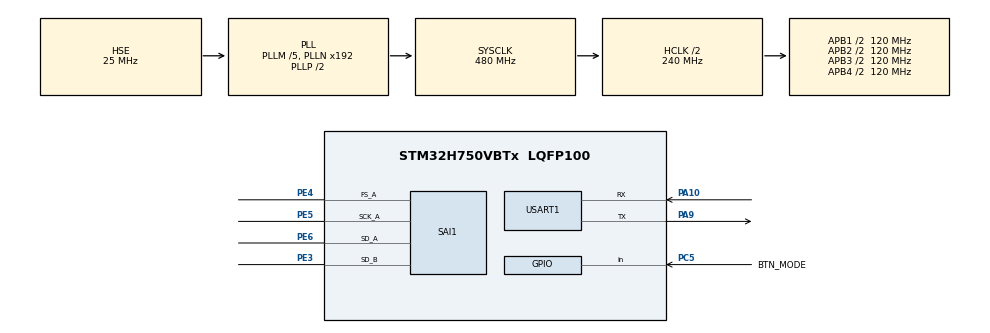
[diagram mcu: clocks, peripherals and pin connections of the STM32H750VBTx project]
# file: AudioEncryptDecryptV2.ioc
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CORTEX_M7.default_mode_Activation=1
CRYP.Algorithm=CRYP_AES_CTR
CRYP.Header=__NULL
Dma.CRYP_IN.2.Direction=DMA_MEMORY_TO_PERIPH
Dma.CRYP_IN.2.EventEnable=DISABLE
Dma.CRYP_IN.2.FIFOMode=DMA_FIFOMODE_DISABLE
Dma.CRYP_IN.2.Instance=DMA1_Stream2
Dma.CRYP_IN.2.MemDataAlignment=DMA_MDATAALIGN_WORD
Dma.CRYP_IN.2.MemInc=DMA_MINC_ENABLE
Dma.CRYP_IN.2.Mode=DMA_NORMAL
Dma.CRYP_IN.2.PeriphDataAlignment=DMA_PDATAALIGN_WORD
Dma.CRYP_IN.2.PeriphInc=DMA_PINC_DISABLE
Dma.CRYP_IN.2.Polarity=HAL_DMAMUX_REQ_GEN_RISING
Dma.CRYP_IN.2.Priority=DMA_PRIORITY_VERY_HIGH
Dma.CRYP_IN.2.RequestNumber=1
Dma.CRYP_IN.2.SignalID=NONE
Dma.CRYP_IN.2.SyncEnable=DISABLE
Dma.CRYP_IN.2.SyncPolarity=HAL_DMAMUX_SYNC_NO_EVENT
Dma.CRYP_IN.2.SyncRequestNumber=1
Dma.CRYP_IN.2.SyncSignalID=NONE
Dma.CRYP_OUT.3.Direction=DMA_PERIPH_TO_MEMORY
Dma.CRYP_OUT.3.EventEnable=DISABLE
Dma.CRYP_OUT.3.FIFOMode=DMA_FIFOMODE_DISABLE
Dma.CRYP_OUT.3.Instance=DMA1_Stream3
Dma.CRYP_OUT.3.MemDataAlignment=DMA_MDATAALIGN_WORD
Dma.CRYP_OUT.3.MemInc=DMA_MINC_ENABLE
Dma.CRYP_OUT.3.Mode=DMA_NORMAL
Dma.CRYP_OUT.3.PeriphDataAlignment=DMA_PDATAALIGN_WORD
Dma.CRYP_OUT.3.PeriphInc=DMA_PINC_DISABLE
Dma.CRYP_OUT.3.Polarity=HAL_DMAMUX_REQ_GEN_RISING
Dma.CRYP_OUT.3.Priority=DMA_PRIORITY_VERY_HIGH
Dma.CRYP_OUT.3.RequestNumber=1
Dma.CRYP_OUT.3.SignalID=NONE
Dma.CRYP_OUT.3.SyncEnable=DISABLE
Dma.CRYP_OUT.3.SyncPolarity=HAL_DMAMUX_SYNC_NO_EVENT
Dma.CRYP_OUT.3.SyncRequestNumber=1
Dma.CRYP_OUT.3.SyncSignalID=NONE
Dma.Request0=SAI1_A
Dma.Request1=SAI1_B
Dma.Request2=CRYP_IN
Dma.Request3=CRYP_OUT
Dma.SAI1_A.0.Direction=DMA_MEMORY_TO_PERIPH
Dma.SAI1_A.0.EventEnable=DISABLE
Dma.SAI1_A.0.FIFOMode=DMA_FIFOMODE_DISABLE
Dma.SAI1_A.0.Instance=DMA1_Stream0
Dma.SAI1_A.0.MemDataAlignment=DMA_MDATAALIGN_WORD
Dma.SAI1_A.0.MemInc=DMA_MINC_ENABLE
Dma.SAI1_A.0.Mode=DMA_CIRCULAR
Dma.SAI1_A.0.PeriphDataAlignment=DMA_PDATAALIGN_WORD
Dma.SAI1_A.0.PeriphInc=DMA_PINC_DISABLE
Dma.SAI1_A.0.Polarity=HAL_DMAMUX_REQ_GEN_RISING
Dma.SAI1_A.0.Priority=DMA_PRIORITY_HIGH
Dma.SAI1_A.0.RequestNumber=1
Dma.SAI1_A.0.SignalID=NONE
Dma.SAI1_A.0.SyncEnable=DISABLE
Dma.SAI1_A.0.SyncPolarity=HAL_DMAMUX_SYNC_NO_EVENT
Dma.SAI1_A.0.SyncRequestNumber=1
Dma.SAI1_A.0.SyncSignalID=NONE
Dma.SAI1_B.1.Direction=DMA_PERIPH_TO_MEMORY
Dma.SAI1_B.1.EventEnable=DISABLE
Dma.SAI1_B.1.FIFOMode=DMA_FIFOMODE_DISABLE
Dma.SAI1_B.1.Instance=DMA1_Stream1
Dma.SAI1_B.1.MemDataAlignment=DMA_MDATAALIGN_WORD
Dma.SAI1_B.1.MemInc=DMA_MINC_ENABLE
Dma.SAI1_B.1.Mode=DMA_CIRCULAR
Dma.SAI1_B.1.PeriphDataAlignment=DMA_PDATAALIGN_WORD
Dma.SAI1_B.1.PeriphInc=DMA_PINC_DISABLE
Dma.SAI1_B.1.Polarity=HAL_DMAMUX_REQ_GEN_RISING
Dma.SAI1_B.1.Priority=DMA_PRIORITY_HIGH
Dma.SAI1_B.1.RequestNumber=1
Dma.SAI1_B.1.SignalID=NONE
Dma.SAI1_B.1.SyncEnable=DISABLE
Dma.SAI1_B.1.SyncPolarity=HAL_DMAMUX_SYNC_NO_EVENT
Dma.SAI1_B.1.SyncRequestNumber=1
Dma.SAI1_B.1.SyncSignalID=NONE
Mcu.Family=STM32H7
Mcu.Name=STM32H750VBTx
Mcu.Package=LQFP100
NVIC.CRYP_IRQn=true\:0\:0\:false\:false\:true\:true\:true\:true
NVIC.DMA1_Stream0_IRQn=true\:0\:0\:false\:false\:true\:false\:true\:true
NVIC.DMA1_Stream1_IRQn=true\:0\:0\:false\:false\:true\:false\:true\:true
NVIC.DMA1_Stream2_IRQn=true\:0\:0\:false\:false\:true\:false\:true\:true
NVIC.DMA1_Stream3_IRQn=true\:0\:0\:false\:false\:true\:false\:true\:true
NVIC.PriorityGroup=NVIC_PRIORITYGROUP_4
NVIC.SAI1_IRQn=true\:0\:0\:false\:false\:true\:true\:true\:true
PA10.Mode=Asynchronous
PA10.Signal=USART1_RX
PA9.Mode=Asynchronous
PA9.Signal=USART1_TX
PC5.GPIO_Label=BTN_MODE
PC5.GPIO_PuPd=GPIO_PULLUP
PC5.Signal=GPIO_Input
PE3.Mode=SAI_B_SyncSlave
PE3.Signal=SAI1_SD_B
PE4.Mode=SAI_A_Master
PE4.Signal=SAI1_FS_A
PE5.Mode=SAI_A_Master
PE5.Signal=SAI1_SCK_A
PE6.Mode=SAI_A_Master
PE6.Signal=SAI1_SD_A
PH0-OSC_IN\ (PH0).Mode=HSE-External-Oscillator
PH0-OSC_IN\ (PH0).Signal=RCC_OSC_IN
PH1-OSC_OUT\ (PH1).Mode=HSE-External-Oscillator
PH1-OSC_OUT\ (PH1).Signal=RCC_OSC_OUT
ProjectManager.HeapSize=0x200
ProjectManager.StackSize=0x400
ProjectManager.TargetToolchain=STM32CubeIDE
RCC.ADCFreq_Value=50390625
RCC.APB1Freq_Value=120000000
RCC.APB2Freq_Value=120000000
RCC.APB3Freq_Value=120000000
RCC.APB4Freq_Value=120000000
RCC.CortexFreq_Value=480000000
RCC.D1PPRE=RCC_APB3_DIV2
RCC.D2PPRE1=RCC_APB1_DIV2
RCC.D2PPRE2=RCC_APB2_DIV2
RCC.D3PPRE=RCC_APB4_DIV2
RCC.DIVM1=5
RCC.DIVM3=5
RCC.DIVN1=192
RCC.DIVN3=49
RCC.DIVP3=20
RCC.DIVQ1=4
RCC.HCLKFreq_Value=240000000
RCC.HPRE=RCC_HCLK_DIV2
RCC.PLL2FRACN=0
RCC.PLL3FRACN=1245
RCC.PLLFRACN=0
RCC.PLLSourceVirtual=RCC_PLLSOURCE_HSE
RCC.SAI1CLockSelection=RCC_SAI1CLKSOURCE_PLL3
RCC.SYSCLKFreq_VALUE=480000000
RCC.SYSCLKSource=RCC_SYSCLKSOURCE_PLLCLK
RCC.USBFreq_Value=240000000
SAI1.AudioFrequency-SAI_A_Master=SAI_AUDIO_FREQUENCY_48K
SAI1.BasicDataSize-SAI_A_Master=SAI_PROTOCOL_DATASIZE_24BIT
SAI1.BasicDataSize-SAI_B_SyncSlave=SAI_PROTOCOL_DATASIZE_24BIT
SAI1.ErrorAudioFreq-SAI_A_Master=0.0 %
SAI1.InitProtocol-SAI_A_Master=Enable
SAI1.InitProtocol-SAI_B_SyncSlave=Enable
SAI1.Instance-SAI_A_Master=SAI$Index_Block_A
SAI1.Instance-SAI_B_SyncSlave=SAI$Index_Block_B
SAI1.MClockEnable=SAI_MASTERCLOCK_DISABLE
SAI1.RealAudioFreq-SAI_A_Master=47.999 KHz
SAI1.VirtualMode-SAI_A_Master=VM_MASTER
SAI1.VirtualMode-SAI_B_SyncSlave=VM_SLAVE
SAI1.VirtualProtocol-SAI_A_BASIC=VM_BASIC_PROTOCOL
SAI1.VirtualProtocol-SAI_B_BASIC=VM_BASIC_PROTOCOL
USART1.VirtualMode-Asynchronous=VM_ASYNC
VP_CRYP_VS_CRYP.Mode=CRYP_Activate
VP_MEMORYMAP_VS_MEMORYMAP.Mode=CurAppReg
VP_SAI1_VP_$IpInstance_SAIA_SAI_BASIC.Mode=SAI_A_BASIC
VP_SAI1_VP_$IpInstance_SAIB_SAI_BASIC.Mode=SAI_B_BASIC
board=custom

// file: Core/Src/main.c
/* USER CODE BEGIN Header */
/**
  ******************************************************************************
  * @file           : main.c
  * @brief          : Main program body
  ******************************************************************************
  * @attention
  *
  * Copyright (c) 2025 STMicroelectronics.
  * All rights reserved.
  *
  * This software is licensed under terms that can be found in the LICENSE file
  * in the root directory of this software component.
  * If no LICENSE file comes with this software, it is provided AS-IS.
  *
  ******************************************************************************
  */
/* USER CODE END Header */
#include "main.h"

/* USER CODE BEGIN Includes */

#include "audio_crypto.h"
#include <stdio.h>
#include <string.h>

/* USER CODE END Includes */

CRYP_HandleTypeDef hcryp;
__ALIGN_BEGIN static const uint32_t pKeyCRYP[4] __ALIGN_END = {
                            0x00000000,0x00000000,0x00000000,0x00000000};
__ALIGN_BEGIN static const uint32_t pInitVectCRYP[4] __ALIGN_END = {
                            0x00000000,0x00000000,0x00000000,0x00000000};

DMA_HandleTypeDef hdma_cryp_in;
DMA_HandleTypeDef hdma_cryp_out;

SAI_HandleTypeDef hsai_BlockA1;
SAI_HandleTypeDef hsai_BlockB1;
DMA_HandleTypeDef hdma_sai1_a;
DMA_HandleTypeDef hdma_sai1_b;

UART_HandleTypeDef huart1;

/* USER CODE BEGIN PV */

/* Button debounce variables */
static volatile uint32_t lastButtonTick = 0;
#define BUTTON_DEBOUNCE_MS  200

/* USER CODE END PV */

void SystemClock_Config(void);
void PeriphCommonClock_Config(void);
static void MPU_Config(void);
static void MX_GPIO_Init(void);
static void MX_DMA_Init(void);
static void MX_SAI1_Init(void);
static void MX_USART1_UART_Init(void);
static void MX_CRYP_Init(void);
/* USER CODE BEGIN PFP */

static void PrintSystemInfo(void);
static void PrintHelp(void);

/* USER CODE END PFP */

int main(void)
{

  /* MPU Configuration--------------------------------------------------------*/
  MPU_Config();

  /* MCU Configuration--------------------------------------------------------*/

  /* Reset of all peripherals, Initializes the Flash interface and the Systick. */
  HAL_Init();

  /* Configure the system clock */
  SystemClock_Config();

  /* Configure the peripherals common clocks */
  PeriphCommonClock_Config();

  /* Initialize all configured peripherals */
  MX_GPIO_Init();
  MX_DMA_Init();
  MX_SAI1_Init();
  MX_USART1_UART_Init();
  MX_CRYP_Init();
  /* USER CODE BEGIN 2 */

  printf("\r\n========================================\r\n");
  printf("  STM32H750 Audio Encryption System\r\n");
  printf("========================================\r\n");

  PrintSystemInfo();
  PrintHelp();

  /* Initialize Audio Crypto */
  if (AudioCrypto_Init(&hsai_BlockA1, &hsai_BlockB1, &hcryp) != HAL_OK) {
    printf("[ERROR] AudioCrypto_Init failed!\r\n");
    Error_Handler();
  }

  /* Start audio streaming */
  if (AudioCrypto_Start() != HAL_OK) {
    printf("[ERROR] AudioCrypto_Start failed!\r\n");
    Error_Handler();
  }

  printf("\r\n[READY] Press button PC5 to change mode\r\n\r\n");

  /* USER CODE END 2 */

  /* Infinite loop */
  while (1)
  {

    /* USER CODE BEGIN 3 */
    /* Button polling with debounce */
    static uint8_t lastButtonState = 1;  /* Pull-up = idle high */
    uint8_t currentButtonState = HAL_GPIO_ReadPin(BTN_MODE_GPIO_Port, BTN_MODE_Pin);

    if (lastButtonState == 1 && currentButtonState == 0) {
      /* Button pressed (falling edge detected) */
      uint32_t currentTick = HAL_GetTick();
      if (currentTick - lastButtonTick > BUTTON_DEBOUNCE_MS) {
        AudioCrypto_NextMode();
        lastButtonTick = currentTick;
      }
    }
    lastButtonState = currentButtonState;

    /* Print stats every 5 seconds */
    static uint32_t lastPrintTick = 0;
    if (HAL_GetTick() - lastPrintTick >= 5000) {
      uint32_t processed, encrypted, errors;
      AudioCrypto_GetStats(&processed, &encrypted, &errors);
      printf("[STATS] Frames: %lu | Encrypted: %lu | Errors: %lu | Mode: %s\r\n",
             processed, encrypted, errors,
             AudioCrypto_GetModeName(AudioCrypto_GetMode()));
      lastPrintTick = HAL_GetTick();
    }

  }
  /* USER CODE END 3 */
}

void SystemClock_Config(void)
{
  RCC_OscInitTypeDef RCC_OscInitStruct = {0};
  RCC_ClkInitTypeDef RCC_ClkInitStruct = {0};

  /** Supply configuration update enable
  */
  HAL_PWREx_ConfigSupply(PWR_LDO_SUPPLY);

  /** Configure the main internal regulator output voltage
  */
  __HAL_PWR_VOLTAGESCALING_CONFIG(PWR_REGULATOR_VOLTAGE_SCALE0);

  while(!__HAL_PWR_GET_FLAG(PWR_FLAG_VOSRDY)) {}

  /** Initializes the RCC Oscillators according to the specified parameters
  * in the RCC_OscInitTypeDef structure.
  */
  RCC_OscInitStruct.OscillatorType = RCC_OSCILLATORTYPE_HSE;
  RCC_OscInitStruct.HSEState = RCC_HSE_ON;
  RCC_OscInitStruct.PLL.PLLState = RCC_PLL_ON;
  RCC_OscInitStruct.PLL.PLLSource = RCC_PLLSOURCE_HSE;
  RCC_OscInitStruct.PLL.PLLM = 5;
  RCC_OscInitStruct.PLL.PLLN = 192;
  RCC_OscInitStruct.PLL.PLLP = 2;
  RCC_OscInitStruct.PLL.PLLQ = 4;
  RCC_OscInitStruct.PLL.PLLR = 2;
  RCC_OscInitStruct.PLL.PLLRGE = RCC_PLL1VCIRANGE_2;
  RCC_OscInitStruct.PLL.PLLVCOSEL = RCC_PLL1VCOWIDE;
  RCC_OscInitStruct.PLL.PLLFRACN = 0;
  if (HAL_RCC_OscConfig(&RCC_OscInitStruct) != HAL_OK)
  {
    Error_Handler();
  }

  /** Initializes the CPU, AHB and APB buses clocks
  */
  RCC_ClkInitStruct.ClockType = RCC_CLOCKTYPE_HCLK|RCC_CLOCKTYPE_SYSCLK
                              |RCC_CLOCKTYPE_PCLK1|RCC_CLOCKTYPE_PCLK2
                              |RCC_CLOCKTYPE_D3PCLK1|RCC_CLOCKTYPE_D1PCLK1;
  RCC_ClkInitStruct.SYSCLKSource = RCC_SYSCLKSOURCE_PLLCLK;
  RCC_ClkInitStruct.SYSCLKDivider = RCC_SYSCLK_DIV1;
  RCC_ClkInitStruct.AHBCLKDivider = RCC_HCLK_DIV2;
  RCC_ClkInitStruct.APB3CLKDivider = RCC_APB3_DIV2;
  RCC_ClkInitStruct.APB1CLKDivider = RCC_APB1_DIV2;
  RCC_ClkInitStruct.APB2CLKDivider = RCC_APB2_DIV2;
  RCC_ClkInitStruct.APB4CLKDivider = RCC_APB4_DIV2;

  if (HAL_RCC_ClockConfig(&RCC_ClkInitStruct, FLASH_LATENCY_4) != HAL_OK)
  {
    Error_Handler();
  }
}

void PeriphCommonClock_Config(void)
{
  RCC_PeriphCLKInitTypeDef PeriphClkInitStruct = {0};

  /** Initializes the peripherals clock
  */
  PeriphClkInitStruct.PeriphClockSelection = RCC_PERIPHCLK_SAI1;
  PeriphClkInitStruct.PLL3.PLL3M = 5;
  PeriphClkInitStruct.PLL3.PLL3N = 49;
  PeriphClkInitStruct.PLL3.PLL3P = 20;
  PeriphClkInitStruct.PLL3.PLL3Q = 2;
  PeriphClkInitStruct.PLL3.PLL3R = 2;
  PeriphClkInitStruct.PLL3.PLL3RGE = RCC_PLL3VCIRANGE_2;
  PeriphClkInitStruct.PLL3.PLL3VCOSEL = RCC_PLL3VCOWIDE;
  PeriphClkInitStruct.PLL3.PLL3FRACN = 1245;
  PeriphClkInitStruct.Sai1ClockSelection = RCC_SAI1CLKSOURCE_PLL3;
  if (HAL_RCCEx_PeriphCLKConfig(&PeriphClkInitStruct) != HAL_OK)
  {
    Error_Handler();
  }
}

static void MX_CRYP_Init(void)
{

  hcryp.Instance = CRYP;
  hcryp.Init.DataType = CRYP_DATATYPE_32B;
  hcryp.Init.KeySize = CRYP_KEYSIZE_128B;
  hcryp.Init.pKey = (uint32_t *)pKeyCRYP;
  hcryp.Init.pInitVect = (uint32_t *)pInitVectCRYP;
  hcryp.Init.Algorithm = CRYP_AES_CTR;
  if (HAL_CRYP_Init(&hcryp) != HAL_OK)
  {
    Error_Handler();
  }

}

static void MX_SAI1_Init(void)
{

  hsai_BlockA1.Instance = SAI1_Block_A;
  hsai_BlockA1.Init.AudioMode = SAI_MODEMASTER_TX;
  hsai_BlockA1.Init.Synchro = SAI_ASYNCHRONOUS;
  hsai_BlockA1.Init.OutputDrive = SAI_OUTPUTDRIVE_DISABLE;
  hsai_BlockA1.Init.NoDivider = SAI_MCK_OVERSAMPLING_DISABLE;
  hsai_BlockA1.Init.MckOverSampling = SAI_MCK_OVERSAMPLING_DISABLE;
  hsai_BlockA1.Init.FIFOThreshold = SAI_FIFOTHRESHOLD_EMPTY;
  hsai_BlockA1.Init.AudioFrequency = SAI_AUDIO_FREQUENCY_48K;
  hsai_BlockA1.Init.SynchroExt = SAI_SYNCEXT_DISABLE;
  hsai_BlockA1.Init.MonoStereoMode = SAI_STEREOMODE;
  hsai_BlockA1.Init.CompandingMode = SAI_NOCOMPANDING;
  hsai_BlockA1.Init.TriState = SAI_OUTPUT_NOTRELEASED;
  if (HAL_SAI_InitProtocol(&hsai_BlockA1, SAI_I2S_STANDARD, SAI_PROTOCOL_DATASIZE_24BIT, 2) != HAL_OK)
  {
    Error_Handler();
  }
  hsai_BlockB1.Instance = SAI1_Block_B;
  hsai_BlockB1.Init.AudioMode = SAI_MODESLAVE_RX;
  hsai_BlockB1.Init.Synchro = SAI_SYNCHRONOUS;
  hsai_BlockB1.Init.OutputDrive = SAI_OUTPUTDRIVE_DISABLE;
  hsai_BlockB1.Init.MckOverSampling = SAI_MCK_OVERSAMPLING_DISABLE;
  hsai_BlockB1.Init.FIFOThreshold = SAI_FIFOTHRESHOLD_EMPTY;
  hsai_BlockB1.Init.SynchroExt = SAI_SYNCEXT_DISABLE;
  hsai_BlockB1.Init.MonoStereoMode = SAI_STEREOMODE;
  hsai_BlockB1.Init.CompandingMode = SAI_NOCOMPANDING;
  hsai_BlockB1.Init.TriState = SAI_OUTPUT_NOTRELEASED;
  if (HAL_SAI_InitProtocol(&hsai_BlockB1, SAI_I2S_STANDARD, SAI_PROTOCOL_DATASIZE_24BIT, 2) != HAL_OK)
  {
    Error_Handler();
  }

}

static void MX_USART1_UART_Init(void)
{

  huart1.Instance = USART1;
  huart1.Init.BaudRate = 115200;
  huart1.Init.WordLength = UART_WORDLENGTH_8B;
  huart1.Init.StopBits = UART_STOPBITS_1;
  huart1.Init.Parity = UART_PARITY_NONE;
  huart1.Init.Mode = UART_MODE_TX_RX;
  huart1.Init.HwFlowCtl = UART_HWCONTROL_NONE;
  huart1.Init.OverSampling = UART_OVERSAMPLING_16;
  huart1.Init.OneBitSampling = UART_ONE_BIT_SAMPLE_DISABLE;
  huart1.Init.ClockPrescaler = UART_PRESCALER_DIV1;
  huart1.AdvancedInit.AdvFeatureInit = UART_ADVFEATURE_NO_INIT;
  if (HAL_UART_Init(&huart1) != HAL_OK)
  {
    Error_Handler();
  }
  if (HAL_UARTEx_SetTxFifoThreshold(&huart1, UART_TXFIFO_THRESHOLD_1_8) != HAL_OK)
  {
    Error_Handler();
  }
  if (HAL_UARTEx_SetRxFifoThreshold(&huart1, UART_RXFIFO_THRESHOLD_1_8) != HAL_OK)
  {
    Error_Handler();
  }
  if (HAL_UARTEx_DisableFifoMode(&huart1) != HAL_OK)
  {
    Error_Handler();
  }

}

static void MX_DMA_Init(void)
{

  /* DMA controller clock enable */
  __HAL_RCC_DMA1_CLK_ENABLE();

  /* DMA interrupt init */
  /* DMA1_Stream0_IRQn interrupt configuration */
  HAL_NVIC_SetPriority(DMA1_Stream0_IRQn, 0, 0);
  HAL_NVIC_EnableIRQ(DMA1_Stream0_IRQn);
  /* DMA1_Stream1_IRQn interrupt configuration */
  HAL_NVIC_SetPriority(DMA1_Stream1_IRQn, 0, 0);
  HAL_NVIC_EnableIRQ(DMA1_Stream1_IRQn);
  /* DMA1_Stream2_IRQn interrupt configuration */
  HAL_NVIC_SetPriority(DMA1_Stream2_IRQn, 0, 0);
  HAL_NVIC_EnableIRQ(DMA1_Stream2_IRQn);
  /* DMA1_Stream3_IRQn interrupt configuration */
  HAL_NVIC_SetPriority(DMA1_Stream3_IRQn, 0, 0);
  HAL_NVIC_EnableIRQ(DMA1_Stream3_IRQn);

}

static void MX_GPIO_Init(void)
{
  GPIO_InitTypeDef GPIO_InitStruct = {0};

  /* GPIO Ports Clock Enable */
  __HAL_RCC_GPIOE_CLK_ENABLE();
  __HAL_RCC_GPIOH_CLK_ENABLE();
  __HAL_RCC_GPIOC_CLK_ENABLE();
  __HAL_RCC_GPIOA_CLK_ENABLE();

  /*Configure GPIO pin : BTN_MODE_Pin */
  GPIO_InitStruct.Pin = BTN_MODE_Pin;
  GPIO_InitStruct.Mode = GPIO_MODE_INPUT;
  GPIO_InitStruct.Pull = GPIO_PULLUP;
  HAL_GPIO_Init(BTN_MODE_GPIO_Port, &GPIO_InitStruct);

}

/* USER CODE BEGIN 4 */

/**
 * @brief Print system configuration info
 */
static void PrintSystemInfo(void)
{
    printf("\r\n[CONFIG]\r\n");
    printf("  - MCU: STM32H750VBT6 @ 480MHz\r\n");
    printf("  - Sample Rate: 48 kHz\r\n");
    printf("  - Bit Depth: 24-bit\r\n");
    printf("  - Channels: Stereo\r\n");
    printf("  - Encryption: AES-128-CTR (Hardware CRYP)\r\n");
    printf("  - Buffer Size: %d samples\r\n", AUDIO_BUFFER_SIZE);
}

/**
 * @brief Print help message
 */
static void PrintHelp(void)
{
    printf("\r\n[MODES]\r\n");
    printf("  0 - BYPASS: Audio pass-through (no encryption)\r\n");
    printf("  1 - ENCRYPT: Encrypt audio output (sounds like noise)\r\n");
    printf("  2 - ENCRYPT+DECRYPT: Loopback test (should sound clear)\r\n");
    printf("\r\n[CONTROL]\r\n");
    printf("  - Press PC5 button to cycle through modes\r\n");
}

/* Printf redirect to UART */
int __io_putchar(int ch)
{
  HAL_UART_Transmit(&huart1, (uint8_t*)&ch, 1, HAL_MAX_DELAY);
  return ch;
}

int _write(int file, char *ptr, int len)
{
  HAL_UART_Transmit(&huart1, (uint8_t*)ptr, len, HAL_MAX_DELAY);
  return len;
}

/* SAI Callbacks */
void HAL_SAI_RxHalfCpltCallback(SAI_HandleTypeDef *hsai)
{
  if (hsai->Instance == SAI1_Block_B) {
    AudioCrypto_RxHalfCpltCallback();
  }
}

void HAL_SAI_RxCpltCallback(SAI_HandleTypeDef *hsai)
{
  if (hsai->Instance == SAI1_Block_B) {
    AudioCrypto_RxCpltCallback();
  }
}

void HAL_SAI_TxHalfCpltCallback(SAI_HandleTypeDef *hsai)
{
  if (hsai->Instance == SAI1_Block_A) {
    AudioCrypto_TxHalfCpltCallback();
  }
}

void HAL_SAI_TxCpltCallback(SAI_HandleTypeDef *hsai)
{
  if (hsai->Instance == SAI1_Block_A) {
    AudioCrypto_TxCpltCallback();
  }
}

/* MPU Configuration */

static void MPU_Config(void)
{
  MPU_Region_InitTypeDef MPU_InitStruct = {0};

  /* Disables the MPU */
  HAL_MPU_Disable();

  /* Region 0: D1 RAM - Cacheable (untuk program & data biasa) */
  MPU_InitStruct.Enable = MPU_REGION_ENABLE;
  MPU_InitStruct.Number = MPU_REGION_NUMBER0;
  MPU_InitStruct.BaseAddress = 0x24000000;
  MPU_InitStruct.Size = MPU_REGION_SIZE_512KB;
  MPU_InitStruct.SubRegionDisable = 0x0;
  MPU_InitStruct.TypeExtField = MPU_TEX_LEVEL0;
  MPU_InitStruct.AccessPermission = MPU_REGION_FULL_ACCESS;
  MPU_InitStruct.DisableExec = MPU_INSTRUCTION_ACCESS_ENABLE;
  MPU_InitStruct.IsShareable = MPU_ACCESS_SHAREABLE;
  MPU_InitStruct.IsCacheable = MPU_ACCESS_CACHEABLE;
  MPU_InitStruct.IsBufferable = MPU_ACCESS_NOT_BUFFERABLE;
  HAL_MPU_ConfigRegion(&MPU_InitStruct);

  /* Region 1: D2 RAM - Non-Cacheable (untuk DMA buffers) - CRITICAL! */
  MPU_InitStruct.Enable = MPU_REGION_ENABLE;
  MPU_InitStruct.Number = MPU_REGION_NUMBER1;
  MPU_InitStruct.BaseAddress = 0x30000000;
  MPU_InitStruct.Size = MPU_REGION_SIZE_256KB;
  MPU_InitStruct.SubRegionDisable = 0x0;
  MPU_InitStruct.TypeExtField = MPU_TEX_LEVEL1;
  MPU_InitStruct.AccessPermission = MPU_REGION_FULL_ACCESS;
  MPU_InitStruct.DisableExec = MPU_INSTRUCTION_ACCESS_DISABLE;
  MPU_InitStruct.IsShareable = MPU_ACCESS_NOT_SHAREABLE;
  MPU_InitStruct.IsCacheable = MPU_ACCESS_NOT_CACHEABLE;
  MPU_InitStruct.IsBufferable = MPU_ACCESS_NOT_BUFFERABLE;
  HAL_MPU_ConfigRegion(&MPU_InitStruct);

  /* Enables the MPU */
  HAL_MPU_Enable(MPU_PRIVILEGED_DEFAULT);
}

/* USER CODE END 4 */

void Error_Handler(void)
{
  /* USER CODE BEGIN Error_Handler_Debug */
  /* User can add his own implementation to report the HAL error return state */
  printf("[FATAL] Error_Handler called!\r\n");
  __disable_irq();
  while (1)
  {
  }
  /* USER CODE END Error_Handler_Debug */
}

#ifdef  USE_FULL_ASSERT
/**
  * @brief  Reports the name of the source file and the source line number
  *         where the assert_param error has occurred.
  * @param  file: pointer to the source file name
  * @param  line: assert_param error line source number
  * @retval None
  */
void assert_failed(uint8_t *file, uint32_t line)
{
  /* USER CODE BEGIN 6 */
  printf("[ASSERT] Failed at %s:%lu\r\n", file, line);
  /* USER CODE END 6 */
}
#endif /* USE_FULL_ASSERT */
